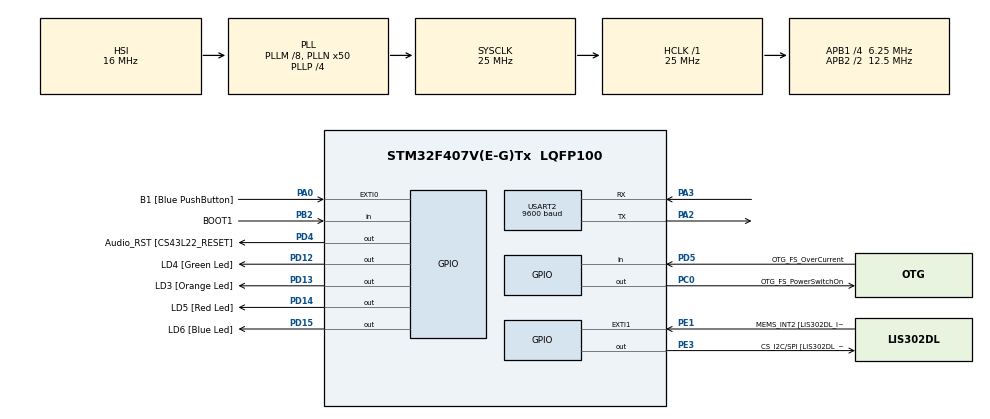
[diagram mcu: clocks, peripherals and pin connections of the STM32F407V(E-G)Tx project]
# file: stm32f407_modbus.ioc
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Mcu.Family=STM32F4
Mcu.Name=STM32F407V(E-G)Tx
Mcu.Package=LQFP100
NVIC.PriorityGroup=NVIC_PRIORITYGROUP_0
PA0-WKUP.GPIO_Label=B1 [Blue PushButton]
PA0-WKUP.Signal=GPXTI0
PA10.GPIO_Label=OTG_FS_ID
PA10.GPIO_Mode=GPIO_MODE_AF_PP
PA10.GPIO_PuPd=GPIO_NOPULL
PA10.GPIO_Speed=GPIO_SPEED_FREQ_LOW
PA10.Signal=USB_OTG_FS_ID
PA11.GPIO_Label=OTG_FS_DM
PA11.GPIO_Mode=GPIO_MODE_AF_PP
PA11.GPIO_PuPd=GPIO_NOPULL
PA11.GPIO_Speed=GPIO_SPEED_FREQ_LOW
PA11.Signal=USB_OTG_FS_DM
PA12.GPIO_Label=OTG_FS_DP
PA12.GPIO_Mode=GPIO_MODE_AF_PP
PA12.GPIO_PuPd=GPIO_NOPULL
PA12.GPIO_Speed=GPIO_SPEED_FREQ_LOW
PA12.Signal=USB_OTG_FS_DP
PA13.GPIO_Label=SWDIO
PA13.Signal=SYS_JTMS-SWDIO
PA14.GPIO_Label=SWCLK
PA14.Signal=SYS_JTCK-SWCLK
PA2.Mode=Asynchronous
PA2.Signal=USART2_TX
PA3.Mode=Asynchronous
PA3.Signal=USART2_RX
PA4.GPIO_Label=I2S3_WS [CS43L22_LRCK]
PA4.GPIO_Mode=GPIO_MODE_AF_PP
PA4.GPIO_PuPd=GPIO_NOPULL
PA4.GPIO_Speed=GPIO_SPEED_FREQ_LOW
PA4.Signal=I2S3_WS
PA5.GPIO_Label=SPI1_SCK [LIS302DL_SCL/SPC]
PA5.GPIO_Mode=GPIO_MODE_AF_PP
PA5.GPIO_PuPd=GPIO_NOPULL
PA5.GPIO_Speed=GPIO_SPEED_FREQ_LOW
PA5.Signal=SPI1_SCK
PA6.GPIO_Label=SPI1_MISO [LIS302DL_SDO]
PA6.GPIO_Mode=GPIO_MODE_AF_PP
PA6.GPIO_PuPd=GPIO_NOPULL
PA6.GPIO_Speed=GPIO_SPEED_FREQ_LOW
PA6.Signal=SPI1_MISO
PA7.GPIO_Label=SPI1_MOSI [LIS302DL_SDA/SDI/SDO]
PA7.GPIO_Mode=GPIO_MODE_AF_PP
PA7.GPIO_PuPd=GPIO_NOPULL
PA7.GPIO_Speed=GPIO_SPEED_FREQ_LOW
PA7.Signal=SPI1_MOSI
PA9.GPIO_Label=VBUS_FS
PA9.GPIO_Mode=GPIO_MODE_INPUT
PA9.GPIO_PuPd=GPIO_NOPULL
PA9.Signal=USB_OTG_FS_VBUS
PB10.GPIO_Label=CLK_IN [MP45DT02_CLK]
PB10.GPIO_Mode=GPIO_MODE_AF_PP
PB10.GPIO_PuPd=GPIO_NOPULL
PB10.GPIO_Speed=GPIO_SPEED_FREQ_LOW
PB10.Signal=I2S2_CK
PB2.GPIO_Label=BOOT1
PB2.GPIO_Mode=GPIO_MODE_INPUT
PB2.GPIO_PuPd=GPIO_NOPULL
PB2.Signal=GPIO_Input
PB3.GPIO_Label=SWO
PB3.Signal=SYS_JTDO-SWO
PB6.GPIO_Label=Audio_SCL [CS43L22_SCL]
PB6.GPIO_Mode=GPIO_MODE_AF_OD
PB6.GPIO_PuPd=GPIO_NOPULL
PB6.GPIO_Speed=GPIO_SPEED_FREQ_LOW
PB6.Signal=I2C1_SCL
PB9.GPIO_Label=Audio_SDA [CS43L22_SDA]
PB9.GPIO_Mode=GPIO_MODE_AF_OD
PB9.GPIO_PuPd=GPIO_NOPULL
PB9.GPIO_Speed=GPIO_SPEED_FREQ_LOW
PB9.Signal=I2C1_SDA
PC0.GPIO_Label=OTG_FS_PowerSwitchOn
PC0.GPIO_PuPd=GPIO_NOPULL
PC0.GPIO_Speed=GPIO_SPEED_FREQ_LOW
PC0.PinState=GPIO_PIN_SET
PC0.Signal=GPIO_Output
PC10.GPIO_Label=I2S3_SCK [CS43L22_SCLK]
PC10.GPIO_Mode=GPIO_MODE_AF_PP
PC10.GPIO_PuPd=GPIO_NOPULL
PC10.GPIO_Speed=GPIO_SPEED_FREQ_LOW
PC10.Signal=I2S3_CK
PC12.GPIO_Label=I2S3_SD [CS43L22_SDIN]
PC12.GPIO_Mode=GPIO_MODE_AF_PP
PC12.GPIO_PuPd=GPIO_NOPULL
PC12.GPIO_Speed=GPIO_SPEED_FREQ_LOW
PC12.Signal=I2S3_SD
PC14-OSC32_IN.GPIO_Label=PC14-OSC32_IN
PC14-OSC32_IN.Signal=RCC_OSC32_IN
PC15-OSC32_OUT.GPIO_Label=PC15-OSC32_OUT
PC15-OSC32_OUT.Signal=RCC_OSC32_OUT
PC3.GPIO_Label=PDM_OUT [MP45DT02_DOUT]
PC3.GPIO_Mode=GPIO_MODE_AF_PP
PC3.GPIO_PuPd=GPIO_NOPULL
PC3.GPIO_Speed=GPIO_SPEED_FREQ_LOW
PC3.Signal=I2S2_SD
PC7.GPIO_Label=I2S3_MCK [CS43L22_MCLK]
PC7.GPIO_Mode=GPIO_MODE_AF_PP
PC7.GPIO_PuPd=GPIO_NOPULL
PC7.GPIO_Speed=GPIO_SPEED_FREQ_LOW
PC7.Signal=I2S3_MCK
PD12.GPIO_Label=LD4 [Green Led]
PD12.GPIO_PuPd=GPIO_NOPULL
PD12.GPIO_Speed=GPIO_SPEED_FREQ_LOW
PD12.Signal=GPIO_Output
PD13.GPIO_Label=LD3 [Orange Led]
PD13.GPIO_PuPd=GPIO_NOPULL
PD13.GPIO_Speed=GPIO_SPEED_FREQ_LOW
PD13.Signal=GPIO_Output
PD14.GPIO_Label=LD5 [Red Led]
PD14.GPIO_PuPd=GPIO_NOPULL
PD14.GPIO_Speed=GPIO_SPEED_FREQ_LOW
PD14.Signal=GPIO_Output
PD15.GPIO_Label=LD6 [Blue Led]
PD15.GPIO_PuPd=GPIO_NOPULL
PD15.GPIO_Speed=GPIO_SPEED_FREQ_LOW
PD15.Signal=GPIO_Output
PD4.GPIO_Label=Audio_RST [CS43L22_RESET]
PD4.GPIO_PuPd=GPIO_NOPULL
PD4.GPIO_Speed=GPIO_SPEED_FREQ_LOW
PD4.Signal=GPIO_Output
PD5.GPIO_Label=OTG_FS_OverCurrent
PD5.GPIO_Mode=GPIO_MODE_INPUT
PD5.GPIO_PuPd=GPIO_NOPULL
PD5.Signal=GPIO_Input
PE1.GPIO_Label=MEMS_INT2 [LIS302DL_INT2]
PE1.GPIO_ModeDefaultEXTI=GPIO_MODE_EVT_RISING
PE1.GPIO_PuPd=GPIO_NOPULL
PE1.Signal=GPXTI1
PE3.GPIO_Label=CS_I2C/SPI [LIS302DL_CS_I2C/SPI]
PE3.GPIO_PuPd=GPIO_NOPULL
PE3.GPIO_Speed=GPIO_SPEED_FREQ_LOW
PE3.Signal=GPIO_Output
PH0-OSC_IN.GPIO_Label=PH0-OSC_IN
PH0-OSC_IN.Signal=RCC_OSC_IN
PH1-OSC_OUT.GPIO_Label=PH1-OSC_OUT
PH1-OSC_OUT.Signal=RCC_OSC_OUT
ProjectManager.HeapSize=0x200
ProjectManager.StackSize=0x400
ProjectManager.TargetToolchain=STM32CubeIDE
RCC.48MHZClocksFreq_Value=14285714.285714285
RCC.AHBFreq_Value=25000000
RCC.APB1CLKDivider=RCC_HCLK_DIV4
RCC.APB1Freq_Value=6250000
RCC.APB1TimFreq_Value=12500000
RCC.APB2CLKDivider=RCC_HCLK_DIV2
RCC.APB2Freq_Value=12500000
RCC.APB2TimFreq_Value=25000000
RCC.CortexFreq_Value=25000000
RCC.HCLKFreq_Value=25000000
RCC.HSE_VALUE=8000000
RCC.HSI_VALUE=16000000
RCC.LSE_VALUE=32768
RCC.PLLM=8
RCC.PLLN=50
RCC.PLLP=RCC_PLLP_DIV4
RCC.PLLQ=7
RCC.SYSCLKFreq_VALUE=25000000
RCC.SYSCLKSource=RCC_SYSCLKSOURCE_PLLCLK
RCC.VCOOutputFreq_Value=100000000
USART2.BaudRate=9600
USART2.VirtualMode=VM_ASYNC
board=STM32F407G-DISC1

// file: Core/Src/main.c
/* USER CODE BEGIN Header */
/**
 ******************************************************************************
 * @file           : main.c
 * @brief          : Main program body
 ******************************************************************************
 */
/* USER CODE END Header */

#include "main.h"

/* USER CODE BEGIN Includes */

#include <string.h>
#include <stdio.h>

/* USER CODE END Includes */

UART_HandleTypeDef huart2;

/* USER CODE BEGIN PV */

uint8_t txData[8];
uint8_t rxData[9];

uint16_t reg1;
uint16_t reg2;

uint32_t combined;

float value = 0.0f;

/* USER CODE END PV */

void SystemClock_Config(void);
static void MX_GPIO_Init(void);
static void MX_USART2_UART_Init(void);

/* USER CODE BEGIN PFP */

uint16_t ModRTU_CRC(uint8_t buf[], int len);

/* USER CODE END PFP */

int main(void) {

	/* MCU Configuration--------------------------------------------------------*/

	HAL_Init();

	SystemClock_Config();

	MX_GPIO_Init();
	MX_USART2_UART_Init();

	/* USER CODE BEGIN 2 */

	/*
	 * Modbus RTU Request Frame
	 *
	 * Slave ID      = 1
	 * Function Code = 03
	 * Start Address = 0000
	 * Quantity      = 0002
	 */

	txData[0] = 0x01; // Slave address
	txData[1] = 0x03; // Function code
	txData[2] = 0x00; // Start Address High Byte (where to start reading)
	txData[3] = 0x00; // Start Address Low Byte
	txData[4] = 0x00; // Quantity High Byte
	txData[5] = 0x02; // Quantity low Byte
//	txData[5] = 0x02;

	uint16_t crc = ModRTU_CRC(txData, 6);

	// here we are reversing least byte to first
	txData[6] = crc & 0xFF;
	txData[7] = (crc >> 8) & 0xFF;

	/* USER CODE END 2 */

	/* Infinite loop */
	/* USER CODE BEGIN WHILE */
	while (1) {
		uint16_t received_crc;
		uint16_t calculated_crc;

		uint8_t rxData[9] = {0};

		/*
		 * Send Modbus Request
		 */
		HAL_UART_Transmit(&huart2, txData, 8, 100);

		/*
		 * Receive Response
		 *
		 * Expected:
		 * 01 03 04 XX XX XX XX CRC CRC
		 */
		HAL_StatusTypeDef status;

		status =  HAL_UART_Receive(&huart2, rxData, 9, 1000);

		if(status == HAL_OK){
		received_crc = rxData[7] | (rxData[8] << 8);

		calculated_crc = ModRTU_CRC(rxData, 7);

		if(received_crc == calculated_crc)
		{
//			 uint32_t raw_data;
//		    raw_data = ((uint32_t)rxData[3] << 24) |
//		               ((uint32_t)rxData[4] << 16) |
//		               ((uint32_t)rxData[5] << 8)  |
//		               ((uint32_t)rxData[6]);
//
//		    memcpy(&value, &raw_data, sizeof(value));
//
//		    printf("Raw HEX     = 0x%08lX\r\n", raw_data);
//
//		    printf("Float Value = %.4f\r\n", value);
		    reg1 = (rxData[3] << 8) | rxData[4];

		    reg2 = (rxData[5] << 8) | rxData[6];

		    combined = ((uint32_t)reg1 << 16) | reg2;

		    value = *(float*)&combined;

		    printf("Float Value = %.4f\r\n", value);
		}
		else
		{
		    printf("CRC ERROR\r\n");
		}
		}
		else if(status == HAL_TIMEOUT)
		{
		    printf("NO RESPONSE FROM SLAVE\r\n");
		}
		else
		{
		    printf("UART ERROR\r\n");
		}

//		/*
//		 * Extract Register Values
//		 */
//		reg1 = (rxData[3] << 8) | rxData[4];
//
//		reg2 = (rxData[5] << 8) | rxData[6];
//
//		/*
//		 * Combine Registers
//		 */
//		combined = ((uint32_t) reg1 << 16) | reg2;
//
//		/*
//		 * Convert to Float
//		 */
//		memcpy(&value, &combined, sizeof(value));
//
//		printf("Float Value = %.4f\r\n", value);

		HAL_Delay(1000);

		/* USER CODE END WHILE */

	}
}

void SystemClock_Config(void) {
	RCC_OscInitTypeDef RCC_OscInitStruct = { 0 };
	RCC_ClkInitTypeDef RCC_ClkInitStruct = { 0 };

	__HAL_RCC_PWR_CLK_ENABLE();

	__HAL_PWR_VOLTAGESCALING_CONFIG(PWR_REGULATOR_VOLTAGE_SCALE1);

	RCC_OscInitStruct.OscillatorType = RCC_OSCILLATORTYPE_HSI;

	RCC_OscInitStruct.HSIState = RCC_HSI_ON;

	RCC_OscInitStruct.HSICalibrationValue = RCC_HSICALIBRATION_DEFAULT;

	RCC_OscInitStruct.PLL.PLLState = RCC_PLL_ON;

	RCC_OscInitStruct.PLL.PLLSource = RCC_PLLSOURCE_HSI;

	RCC_OscInitStruct.PLL.PLLM = 8;

	RCC_OscInitStruct.PLL.PLLN = 50;

	RCC_OscInitStruct.PLL.PLLP = RCC_PLLP_DIV4;

	RCC_OscInitStruct.PLL.PLLQ = 7;

	if (HAL_RCC_OscConfig(&RCC_OscInitStruct) != HAL_OK) {
		Error_Handler();
	}

	RCC_ClkInitStruct.ClockType =
	RCC_CLOCKTYPE_HCLK |
	RCC_CLOCKTYPE_SYSCLK |
	RCC_CLOCKTYPE_PCLK1 |
	RCC_CLOCKTYPE_PCLK2;

	RCC_ClkInitStruct.SYSCLKSource = RCC_SYSCLKSOURCE_PLLCLK;

	RCC_ClkInitStruct.AHBCLKDivider = RCC_SYSCLK_DIV1;

	RCC_ClkInitStruct.APB1CLKDivider = RCC_HCLK_DIV4;

	RCC_ClkInitStruct.APB2CLKDivider = RCC_HCLK_DIV2;

	if (HAL_RCC_ClockConfig(&RCC_ClkInitStruct, FLASH_LATENCY_0) != HAL_OK) {
		Error_Handler();
	}
}

static void MX_USART2_UART_Init(void) {

	huart2.Instance = USART2;

	huart2.Init.BaudRate = 9600;

	huart2.Init.WordLength = UART_WORDLENGTH_8B;

	huart2.Init.StopBits = UART_STOPBITS_1;

	huart2.Init.Parity = UART_PARITY_NONE;

	huart2.Init.Mode = UART_MODE_TX_RX;

	huart2.Init.HwFlowCtl = UART_HWCONTROL_NONE;

	huart2.Init.OverSampling = UART_OVERSAMPLING_16;

	if (HAL_UART_Init(&huart2) != HAL_OK) {
		Error_Handler();
	}
}

static void MX_GPIO_Init(void) {
	GPIO_InitTypeDef GPIO_InitStruct = { 0 };

	__HAL_RCC_GPIOE_CLK_ENABLE();
	__HAL_RCC_GPIOC_CLK_ENABLE();
	__HAL_RCC_GPIOH_CLK_ENABLE();
	__HAL_RCC_GPIOA_CLK_ENABLE();
	__HAL_RCC_GPIOB_CLK_ENABLE();
	__HAL_RCC_GPIOD_CLK_ENABLE();

	HAL_GPIO_WritePin(GPIOD,
	LD4_Pin | LD3_Pin | LD5_Pin | LD6_Pin, GPIO_PIN_RESET);

	GPIO_InitStruct.Pin =
	LD4_Pin |
	LD3_Pin |
	LD5_Pin |
	LD6_Pin;

	GPIO_InitStruct.Mode = GPIO_MODE_OUTPUT_PP;

	GPIO_InitStruct.Pull = GPIO_NOPULL;

	GPIO_InitStruct.Speed = GPIO_SPEED_FREQ_LOW;

	HAL_GPIO_Init(GPIOD, &GPIO_InitStruct);
}

/* USER CODE BEGIN 4 */

int __io_putchar(int ch) {
	ITM_SendChar(ch);
	return ch;
}

/**
 Modbus CRC16
 Cyclic Redundancy Check
*/
uint16_t ModRTU_CRC(uint8_t buf[], int len) {
	uint16_t crc = 0xFFFF;

	for (int pos = 0; pos < len; pos++) {
		crc ^= (uint16_t) buf[pos];

		for (int i = 8; i != 0; i--) {
			if ((crc & 0x0001) != 0) {
				crc >>= 1;
				crc ^= 0xA001;
			} else {
				crc >>= 1;
			}
		}
	}

	return crc;
}

/* USER CODE END 4 */

void Error_Handler(void) {
	__disable_irq();

	while (1) {
	}
}
